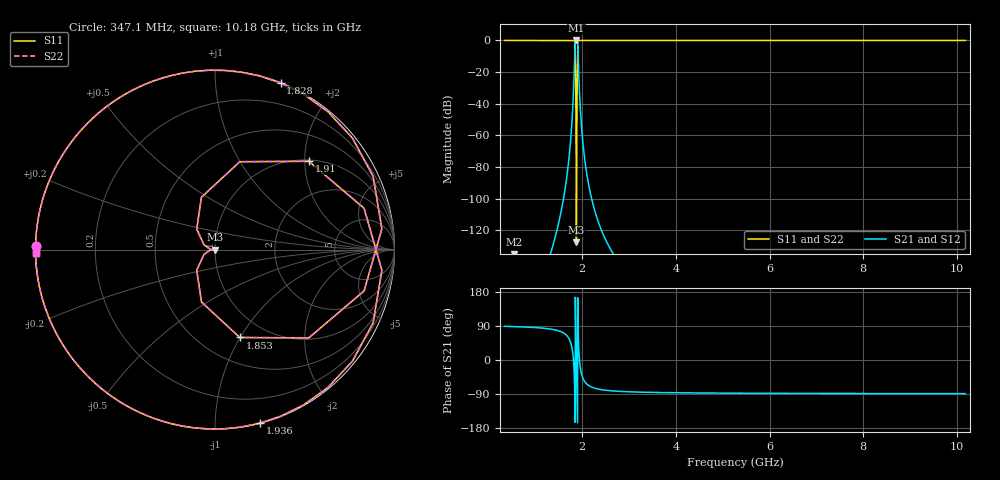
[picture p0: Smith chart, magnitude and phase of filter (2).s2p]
! rf-tools.com
! Date: Thu Jan 30 2020 11:02:51 GMT+0000 (格林尼治标准时间)
# Hz S DB R 50.00
!Frequency  S11 dB  S11 Deg  S21 dB  S21 Deg  S12 dB  S12 Deg  S22 dB  S22 Deg
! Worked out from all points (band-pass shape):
!   2000 points, 347.1 MHz to 10.18 GHz, reference 50 ohm
!   highest |S21| = 0.00 dB at 1.875 GHz (marker M1); lowest = -198.9 dB at 551.6 MHz (marker M2)
!   |S21| within 3 dB of the highest: 1.85 GHz to 1.91 GHz (59.87 MHz wide, 3.18 % of centre)
!   lowest |S11| = -127.6 dB at 1.878 GHz (marker M3), VSWR 1.00, Z = 50 + j4.1e-05 ohm
!   |S11| at or under -10 dB: 1.856 GHz to 1.904 GHz (48.24 MHz wide, 2.57 % of centre)
!   |S22| runs from -127.6 to 0.0 dB; largest |S21 - S12| = 0
!   S11 on the Smith chart (normalised r, x): 347.1 MHz: 0.00, +0.01; 1.828 GHz: 0.00, +1.47; 1.853 GHz: 0.75, -1.00; 1.91 GHz: 1.03, +2.09; 1.936 GHz: 0.00, -1.29; 10.18 GHz: 0.00, -0.01
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3.47119e8  0.00 178.9  -221.45 88.9  -221.45 88.9  0.00 178.9
5.51559e8  -0.00 178.1  -198.94 88.1  -198.94 88.1  -0.00 178.1
1.679934e9  -0.00 153.7  -84.86 63.7  -84.86 63.7  -0.00 153.7
1.761343e9  -0.00 134.2  -61.07 44.2  -61.07 44.2  -0.00 134.2
1.803515e9  -0.00 107.1  -41.42 17.1  -41.42 17.1  -0.00 107.1
1.828065e9  -0.02 68.5  -24.26 -21.5  -24.26 -21.5  -0.02 68.5
1.85295e9  -5.87 -74.3  -1.30 -164.3  -1.30 -164.3  -5.87 -74.3
1.875001e9  -79.90 119.5  -0.00 29.5  -0.00 29.5  -79.90 119.5
1.878173e9  -127.61 99.8  -0.00 9.8  -0.00 9.8  -127.61 99.8
1.897315e9  -23.49 156.2  -0.02 -113.8  -0.02 -113.8  -23.49 156.2
1.910185e9  -2.88 43.3  -3.14 133.3  -3.14 133.3  -2.88 43.3
1.923142e9  -0.12 -39.1  -15.65 50.9  -15.65 50.9  -0.12 -39.1
1.936187e9  -0.01 -75.5  -26.81 14.5  -26.81 14.5  -0.01 -75.5
1.955921e9  -0.00 -103.8  -39.61 -13.8  -39.61 -13.8  -0.00 -103.8
1.985899e9  -0.00 -125.6  -53.70 -35.6  -53.70 -35.6  -0.00 -125.6
2.050705e9  -0.00 -145.9  -73.72 -55.9  -73.72 -55.9  -0.00 -145.9
2.110479e9  -0.00 -154.4  -86.15 -64.4  -86.15 -64.4  -0.00 -154.4
3.624583e9  0.00 -175.8  -164.50 -85.8  -164.50 -85.8  0.00 -175.8
5.26587e9  -0.00 -177.6  -188.41 -87.6  -188.41 -87.6  -0.00 -177.6
6.91262e9  -0.00 -178.3  -202.81 -88.3  -202.81 -88.3  -0.00 -178.3
8.55314e9  -0.00 -178.6  -213.25 -88.6  -213.25 -88.6  -0.00 -178.6
1.01795e10  0.00 -178.9  -221.45 -88.9  -221.45 -88.9  0.00 -178.9
